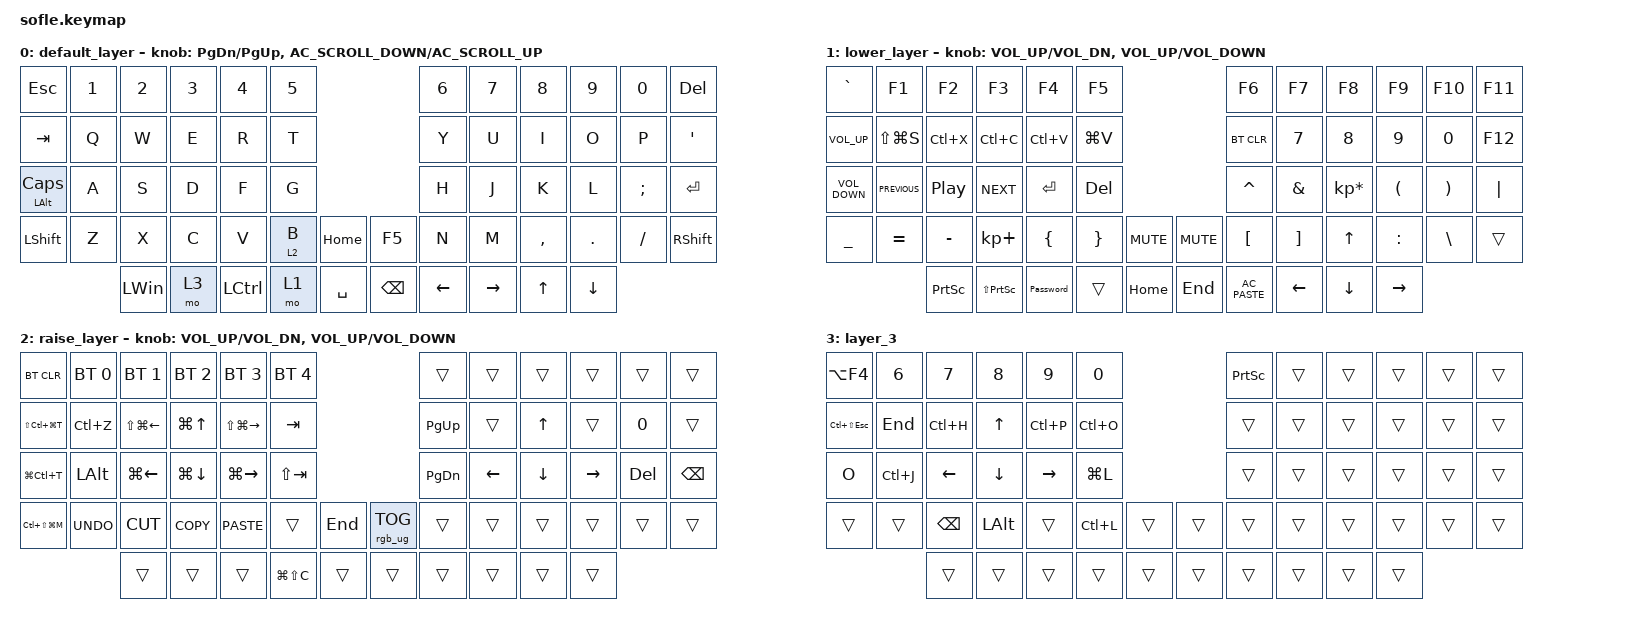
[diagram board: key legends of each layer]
/*
 * Copyright (c) 2020 The ZMK Contributors
 *
 * SPDX-License-Identifier: MIT
 */
/*
 * Temporarily here because nice nano v2 spi is not defined on ZMK Yet
 * Source: https://github.com/zmkfirmware/zmk/blob/main/app/boards/shields/reviung41/boards/nice_nano.overlay
 * GitHub Issue: https://github.com/zmkfirmware/zmk/issues/885
 */

#include <dt-bindings/led/led.h>
#include <behaviors.dtsi>
#include <dt-bindings/zmk/bt.h>
#include <dt-bindings/zmk/keys.h>
#include <dt-bindings/zmk/rgb.h>

&pinctrl {
    spi3_default: spi3_default {
        group1 { psels = <NRF_PSEL(SPIM_MOSI, 0, 8)>; };
    };

    spi3_sleep: spi3_sleep {
        group1 {
            psels = <NRF_PSEL(SPIM_MOSI, 0, 8)>;
            low-power-enable;
        };
    };
};

&spi3 {
    compatible = "nordic,nrf-spim";
    status = "okay";
    pinctrl-0 = <&spi3_default>;
    pinctrl-1 = <&spi3_sleep>;
    pinctrl-names = "default", "sleep";

    led_strip: ws2812@0 {
        compatible = "worldsemi,ws2812-spi";
        label = "WS2812";

        /* SPI */

        reg = <0>; /* ignored, but necessary for SPI bindings */
        spi-max-frequency = <4000000>;

        /* WS2812 */

        chain-length = <30>;
        spi-one-frame = <0x70>;
        spi-zero-frame = <0x40>;
        color-mapping = <LED_COLOR_ID_GREEN LED_COLOR_ID_RED LED_COLOR_ID_BLUE>;
    };
};

/ {
    chosen { zmk,underglow = &led_strip; };
};

/* END temporary RGB support section */

/ {
    macros {
        Password: Password {
            compatible = "zmk,behavior-macro";
            #binding-cells = <0>;
            bindings = <&kp LS(C) &kp H &kp A &kp N &kp K &kp O &kp H &kp A &kp R &kp U &kp EXCL &kp N1>;
            label = "PASSWORD";
        };
    };

    keymap {
        compatible = "zmk,keymap";

        default_layer {
            // ------------------------------------------------------------------------------------------------------------------
            // |  `    |  1  |  2  |  3   |  4   |  5   |                         |  6   |  7    |  8    |  9   |   0   |       |
            // |  ESC  |  Q  |  W  |  E   |  R   |  T   |                         |  Y   |  U    |  I    |  O   |   P   | BKSPC |
            // |  TAB  |  A  |  S  |  D   |  F   |  G   |                         |  H   |  J    |  K    |  L   |   ;   |   '   |
            // | SHIFT |  Z  |  X  |  C   |  V   |  B   |  MUTE  |        | ExtPw |  N   |  M    |  ,    |  .   |   /   | SHIFT |
            //               | GUI | ALT  | CTRL | LOWER|  ENTER |        | SPACE | RAISE| CTRL  | ALT   | GUI  |

            bindings = <
&kp ESCAPE             &kp N1  &kp N2        &kp N3  &kp N4     &kp N5                               &kp N6    &kp N7     &kp N8        &kp N9    &kp N0    &kp DELETE
&kp TAB                &kp Q   &kp W         &kp E   &kp R      &kp T                                &kp Y     &kp U      &kp I         &kp O     &kp P     &kp APOS
&mt LEFT_ALT CAPSLOCK  &kp A   &kp S         &kp D   &kp F      &kp G                                &kp H     &kp J      &kp K         &kp L     &kp SEMI  &kp ENTER
&kp LSHFT              &kp Z   &kp X         &kp C   &kp V      &lt 2 B  &kp HOME     &kp F5         &kp N     &kp M      &kp COMMA     &kp DOT   &kp FSLH  &kp RSHFT
                               &kp LEFT_WIN  &mo 3   &kp LCTRL  &mo 1    &kp SPACE    &kp BACKSPACE  &kp LEFT  &kp RIGHT  &kp UP_ARROW  &kp DOWN
            >;

            sensor-bindings =
                <&inc_dec_kp PAGE_DOWN PAGE_UP>,
                <&inc_dec_kp C_AC_SCROLL_DOWN C_AC_SCROLL_UP>;
        };

        lower_layer {
            // TODO: Some binds are waiting for shifted keycode support.
            // ------------------------------------------------------------------------------------------------------------
            // |       |  F1 |  F2 |  F3  |  F4  |  F5  |                   |  F6  |  F7   |  F8   |  F9  |  F10  |  F11  |
            // | `     |   1 |   2 |   3  |   4  |   5  |                   |   6  |   7   |   8   |   9  |    0  |  F12  |
            // |       |  !  |  @  |  #   |  $   |  %   |                   |  ^   |  &    |  *    |  (   |   )   |   |   |
            // |       |  =  |  -  |  +   |  {   |  }   |        |  |       |  [   |  ]    |  ;    |  :   |   \   |       |
            //               |     |      |      |      |        |  |       |      |       |       |      |

            bindings = <
&kp GRAVE          &kp F1          &kp F2            &kp F3               &kp F4     &kp F5                                &kp F6          &kp F7    &kp F8           &kp F9     &kp F10   &kp F11
&kp C_VOLUME_UP    &kp LS(LG(S))   &kp LC(X)         &kp LC(C)            &kp LC(V)  &kp LG(V)                             &bt BT_CLR      &kp N7    &kp N8           &kp N9     &kp N0    &kp F12
&kp C_VOLUME_DOWN  &kp C_PREVIOUS  &kp C_PLAY_PAUSE  &kp C_NEXT           &kp ENTER  &kp DELETE                            &kp CARET       &kp AMPS  &kp KP_MULTIPLY  &kp LPAR   &kp RPAR  &kp PIPE
&kp UNDER          &kp EQUAL       &kp MINUS         &kp KP_PLUS          &kp LBRC   &kp RBRC    &kp K_MUTE    &kp K_MUTE  &kp LBKT        &kp RBKT  &kp UP_ARROW     &kp COLON  &kp BSLH  &trans
                                   &kp PRINTSCREEN   &kp LS(PRINTSCREEN)  &Password  &trans      &kp HOME      &kp END     &kp C_AC_PASTE  &kp LEFT  &kp DOWN         &kp RIGHT
            >;

            sensor-bindings =
                <&inc_dec_kp C_VOL_UP C_VOL_DN>,
                <&inc_dec_kp C_VOLUME_UP C_VOLUME_DOWN>;
        };

        raise_layer {
            // ------------------------------------------------------------------------------------------------------------
            // |BTCLR| BT1  | BT2  |  BT3  |  BT4  |  BT5 |                 |      |      |       |      |       |       |
            // |     | INS  | PSCR | GUI   |       |      |                 | PGUP |      |   ^   |      |       |       |
            // |     | ALT  | CTRL | SHIFT |       | CAPS |                 | PGDN |   <- |   v   |  ->  |  DEL  | BKSPC |
            // |     | UNDO | CUT  | COPY  | PASTE |      |      |   | RGB  |      |      |       |      |       |       |
            //              |      |       |       |      |      |   |      |      |      |       |      |

            bindings = <
&bt BT_CLR         &bt BT_SEL 0  &bt BT_SEL 1            &bt BT_SEL 2      &bt BT_SEL 3       &bt BT_SEL 4                               &trans     &trans    &trans    &trans     &trans   &trans
&kp LS(LC(LG(T)))  &kp LC(Z)     &kp LS(LG(LEFT_ARROW))  &kp LG(UP_ARROW)  &kp LS(LG(RIGHT))  &kp TAB                                    &kp PG_UP  &trans    &kp UP    &trans     &kp N0   &trans
&kp LG(LC(T))      &kp LEFT_ALT  &kp LG(LEFT_ARROW)      &kp LG(DOWN)      &kp LG(RIGHT)      &kp LS(TAB)                                &kp PG_DN  &kp LEFT  &kp DOWN  &kp RIGHT  &kp DEL  &kp BSPC
&kp LC(LS(LG(M)))  &kp K_UNDO    &kp K_CUT               &kp K_COPY        &kp K_PASTE        &trans         &kp END    &rgb_ug RGB_TOG  &trans     &trans    &trans    &trans     &trans   &trans
                                 &trans                  &trans            &trans             &kp LG(LS(C))  &trans     &trans           &trans     &trans    &trans    &trans
            >;

            sensor-bindings =
                <&inc_dec_kp C_VOL_UP C_VOL_DN>,
                <&inc_dec_kp C_VOLUME_UP C_VOLUME_DOWN>;
        };

        layer_3 {
            bindings = <
&kp LA(F4)          &kp NUMBER_6  &kp N7         &kp N8        &kp N9     &kp N0                       &kp PRINTSCREEN  &trans  &trans  &trans  &trans  &trans
&kp LC(LS(ESCAPE))  &kp END       &kp LC(H)      &kp UP_ARROW  &kp LC(P)  &kp LC(O)                    &trans           &trans  &trans  &trans  &trans  &trans
&kp O               &kp LC(J)     &kp LEFT       &kp DOWN      &kp RIGHT  &kp LG(L)                    &trans           &trans  &trans  &trans  &trans  &trans
&trans              &trans        &kp BACKSPACE  &kp LEFT_ALT  &trans     &kp LC(L)  &trans    &trans  &trans           &trans  &trans  &trans  &trans  &trans
                                  &trans         &trans        &trans     &trans     &trans    &trans  &trans           &trans  &trans  &trans
            >;
        };
    };
};
